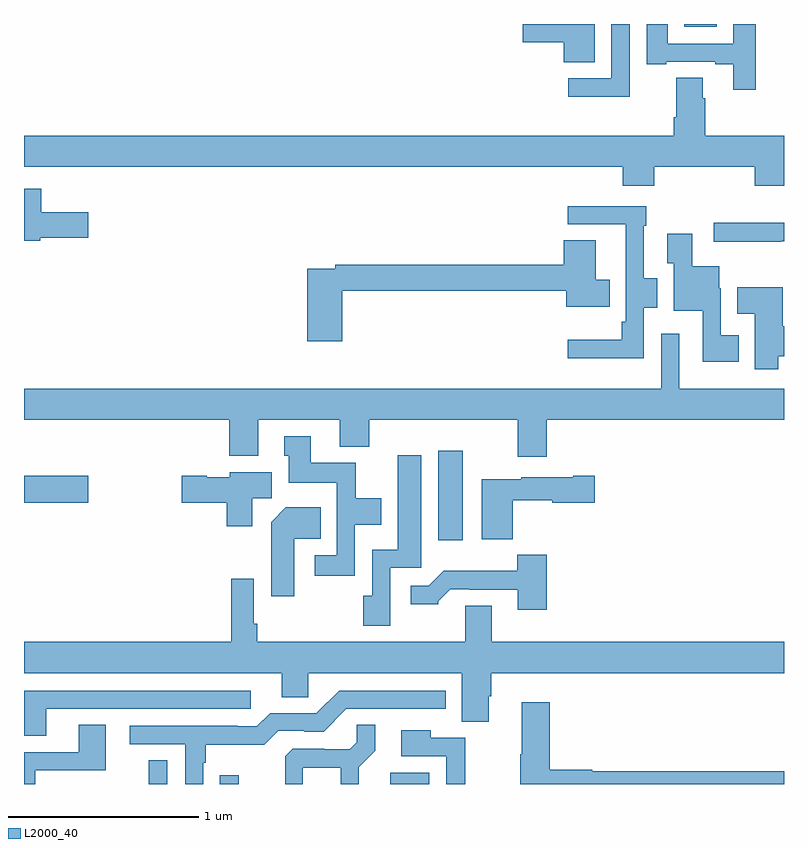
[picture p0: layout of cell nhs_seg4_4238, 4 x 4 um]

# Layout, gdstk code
import gdstk
lib = gdstk.Library(unit=1e-6, precision=1e-09)
def R(c, l, rs):  # rectangles x0, y0, x1, y1
    for r in rs: c.add(gdstk.rectangle(r[:2], r[2:], *l))
def P(c, l, *ps):  # polygons
    for p in ps: c.add(gdstk.Polygon(p, *l))
L2000_40 = (2000, 40)

nhs_seg4_4238 = lib.new_cell('nhs_seg4_4238')
R(nhs_seg4_4238, L2000_40, [(337.657,798.9,337.755,799.025), (338.029,798.9,338.13,798.946), (338.927,798.9,339.133,798.958), (339.179,800.184,339.31,800.653), (337,800.381,337.339,800.523), (340.475,802.886,340.645,802.9)])
P(nhs_seg4_4238, L2000_40, [(340.85,802.9),(340.734,802.9),(340.734,802.797),(340.387,802.797),(340.387,802.9),(340.277,802.9),(340.277,802.689),(340.381,802.689),(340.381,802.701),(340.637,802.701),(340.637,802.689),(340.733,802.689),(340.733,802.554),(340.85,802.554)],
  [(340.188,802.9),(340.092,802.9),(340.092,802.614),(339.864,802.614),(339.864,802.517),(340.188,802.517)],
  [(340.003,802.9),(339.624,802.9),(339.624,802.805),(339.842,802.805),(339.842,802.699),(340.003,802.699)],
  [(340.316,802.148),(340.847,802.148),(340.847,802.049),(341,802.049),(341,802.312),(340.586,802.312),(340.586,802.508),(340.573,802.508),(340.573,802.616),(340.433,802.616),(340.433,802.408),(340.421,802.408),(340.421,802.312),(337,802.312),(337,802.148),(340.151,802.148),(340.151,802.049),(340.316,802.049)],
  [(337.086,801.776),(337.339,801.776),(337.339,801.91),(337.09,801.91),(337.09,802.033),(337,802.033),(337,801.758),(337.086,801.758)],
  [(340.263,801.406),(340.333,801.406),(340.333,801.561),(340.263,801.561),(340.263,801.839),(340.276,801.839),(340.276,801.942),(339.861,801.942),(339.861,801.846),(340.166,801.846),(340.166,801.649),(340.167,801.649),(340.167,801.334),(340.147,801.334),(340.147,801.238),(339.861,801.238),(339.861,801.14),(340.263,801.14)],
  [(340.985,801.756),(341,801.756),(341,801.854),(340.629,801.854),(340.629,801.754),(340.985,801.754)],
  [(340.762,801.262),(340.668,801.262),(340.668,801.51),(340.66,801.51),(340.66,801.625),(340.518,801.625),(340.518,801.796),(340.385,801.796),(340.385,801.64),(340.421,801.64),(340.421,801.392),(340.572,801.392),(340.572,801.122),(340.762,801.122)],
  [(338.675,801.496),(339.854,801.496),(339.854,801.413),(340.082,801.413),(340.082,801.553),(340.009,801.553),(340.009,801.761),(339.842,801.761),(339.842,801.632),(338.638,801.632),(338.638,801.612),(338.492,801.612),(338.492,801.231),(338.675,801.231)],
  [(340.969,801.152),(341,801.152),(341,801.31),(340.993,801.31),(340.993,801.514),(340.753,801.514),(340.753,801.374),(340.847,801.374),(340.847,801.084),(340.969,801.084)],
  [(339.752,800.816),(341,800.816),(341,800.98),(340.449,800.98),(340.449,801.271),(340.353,801.271),(340.353,800.98),(337,800.98),(337,800.816),(338.081,800.816),(338.081,800.627),(338.233,800.627),(338.233,800.816),(338.663,800.816),(338.663,800.675),(338.816,800.675),(338.816,800.816),(339.599,800.816),(339.599,800.622),(339.752,800.622)],
  [(338.742,800.264),(338.881,800.264),(338.881,800.404),(338.745,800.404),(338.745,800.59),(338.509,800.59),(338.509,800.731),(338.369,800.731),(338.369,800.628),(338.393,800.628),(338.393,800.486),(338.646,800.486),(338.646,800.103),(338.529,800.103),(338.529,799.995),(338.742,799.995)],
  [(338.928,800.037),(339.091,800.037),(339.091,800.629),(338.966,800.629),(338.966,800.134),(338.832,800.134),(338.832,799.89),(338.785,799.89),(338.785,799.734),(338.928,799.734)],
  [(338.2,800.404),(338.305,800.404),(338.305,800.542),(338.082,800.542),(338.082,800.515),(337.962,800.515),(337.962,800.523),(337.83,800.523),(337.83,800.381),(338.066,800.381),(338.066,800.256),(338.2,800.256)],
  [(339.572,800.393),(339.78,800.393),(339.78,800.381),(340.003,800.381),(340.003,800.523),(339.89,800.523),(339.89,800.515),(339.618,800.515),(339.618,800.503),(339.41,800.503),(339.41,800.189),(339.572,800.189)],
  [(338.422,800.192),(338.561,800.192),(338.561,800.356),(338.378,800.356),(338.3,800.278),(338.3,799.887),(338.422,799.887)],
  [(339.752,800.107),(339.597,800.107),(339.597,800.023),(339.208,800.023),(339.129,799.944),(339.036,799.944),(339.036,799.847),(339.18,799.847),(339.18,799.862),(339.244,799.926),(339.343,799.926),(339.343,799.923),(339.599,799.923),(339.599,799.818),(339.752,799.818)],
  [(339.445,799.362),(339.458,799.362),(339.458,799.484),(341,799.484),(341,799.648),(339.463,799.648),(339.463,799.838),(339.323,799.838),(339.323,799.648),(338.228,799.648),(338.228,799.744),(338.208,799.744),(338.208,799.981),(338.092,799.981),(338.092,799.648),(337,799.648),(337,799.484),(338.357,799.484),(338.357,799.357),(338.496,799.357),(338.496,799.484),(339.305,799.484),(339.305,799.228),(339.445,799.228)],
  [(337.117,799.296),(338.194,799.296),(338.194,799.392),(337,799.392),(337,799.153),(337.117,799.153)],
  [(337.944,799.013),(337.957,799.013),(337.957,799.106),(338.264,799.106),(338.337,799.179),(338.476,799.179),(338.476,799.176),(338.577,799.176),(338.697,799.296),(339.22,799.296),(339.22,799.392),(338.658,799.392),(338.538,799.272),(338.295,799.272),(338.226,799.203),(338.126,799.203),(338.126,799.206),(337.557,799.206),(337.557,799.11),(337.848,799.11),(337.848,798.9),(337.944,798.9)],
  [(341,798.968),(339.99,798.968),(339.99,798.976),(339.767,798.976),(339.767,799.33),(339.62,799.33),(339.62,799.057),(339.613,799.057),(339.613,798.9),(341,798.9)],
  [(337.059,798.972),(337.429,798.972),(337.429,799.211),(337.289,799.211),(337.289,799.068),(337,799.068),(337,798.9),(337.059,798.9)],
  [(338.468,798.986),(338.666,798.986),(338.666,798.9),(338.763,798.9),(338.763,798.989),(338.849,799.075),(338.849,799.211),(338.751,799.211),(338.751,799.12),(338.714,799.083),(338.58,799.083),(338.58,799.086),(338.415,799.086),(338.374,799.045),(338.374,798.9),(338.468,798.9)],
  [(339.323,799.143),(339.141,799.143),(339.141,799.183),(338.985,799.183),(338.985,799.047),(339.222,799.047),(339.222,798.9),(339.323,798.9)])

lib.write_gds('nhs_seg4_4238.gds')
